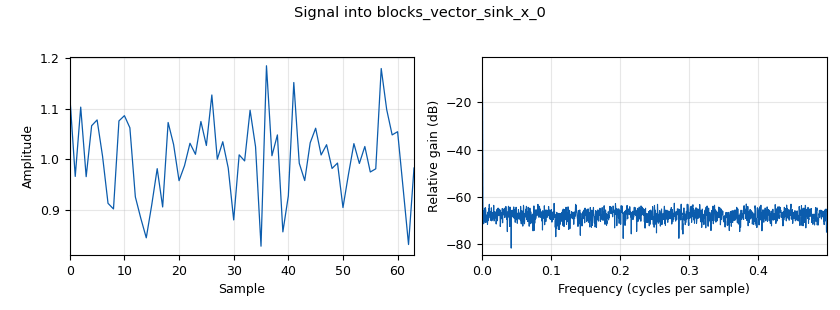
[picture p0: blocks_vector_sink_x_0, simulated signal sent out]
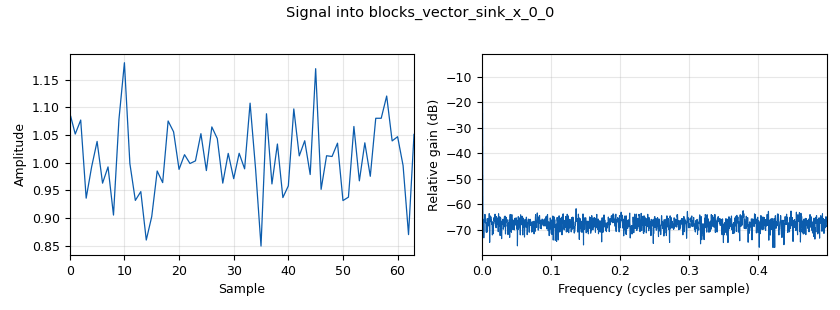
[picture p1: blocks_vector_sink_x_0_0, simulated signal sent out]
options:
  parameters:
    generate_options: qt_gui
    id: top_block
    output_language: python
  states: {}

blocks:
- name: amplitude
  id: variable_qtgui_range
  parameters:
    label: Amplitude
    min_len: '10'
    orient: Qt.Horizontal
    start: '0'
    step: '0.5'
    stop: '10'
    value: '1'
  states: {}
- name: delay
  id: variable_qtgui_entry
  parameters:
    type: int
    value: '0'
  states: {}
- name: frequency
  id: variable
  parameters:
    value: '100'
  states: {state: disabled}
- name: frequency
  id: variable_qtgui_entry
  parameters:
    type: real
    value: '100'
  states: {}
- name: samp_rate
  id: variable
  parameters:
    value: '32000'
  states: {}
- name: analog_noise_source_x_0
  id: analog_noise_source_x
  parameters:
    amp: '0.1'
    noise_type: analog.GR_GAUSSIAN
    seed: '0'
    type: complex
  states: {}
- name: analog_sig_source_x_0
  id: analog_sig_source_x
  parameters:
    amp: amplitude
    freq: frequency
    offset: '0'
    phase: '0'
    samp_rate: samp_rate
    type: complex
    waveform: analog.GR_COS_WAVE
  states: {}
- name: analog_sig_source_x_0_0
  id: analog_sig_source_x
  parameters:
    amp: amplitude
    freq: frequency
    offset: '0'
    phase: 3.1415/4
    samp_rate: samp_rate
    type: complex
    waveform: analog.GR_COS_WAVE
  states: {}
- name: blocks_add_xx_0
  id: blocks_add_xx
  parameters:
    type: complex
  states: {}
- name: blocks_add_xx_0_0
  id: blocks_add_xx
  parameters:
    type: complex
  states: {}
- name: blocks_complex_to_magphase_0_0
  id: blocks_complex_to_magphase
  parameters: {}
  states: {}
- name: blocks_complex_to_magphase_0_0_0
  id: blocks_complex_to_magphase
  parameters: {}
  states: {}
- name: blocks_complex_to_magphase_0_0_1
  id: blocks_complex_to_magphase
  parameters: {}
  states: {}
- name: blocks_complex_to_real_0
  id: blocks_complex_to_real
  parameters: {}
  states: {}
- name: blocks_complex_to_real_0_0
  id: blocks_complex_to_real
  parameters: {}
  states: {}
- name: blocks_complex_to_real_0_1
  id: blocks_complex_to_real
  parameters: {}
  states: {}
- name: blocks_delay_0
  id: blocks_delay
  parameters:
    delay: delay
    type: complex
  states: {}
- name: blocks_throttle_0_0
  id: blocks_throttle
  parameters:
    samples_per_second: samp_rate
    type: complex
  states: {}
- name: blocks_throttle_0_0_0
  id: blocks_throttle
  parameters:
    samples_per_second: samp_rate
    type: complex
  states: {}
- name: blocks_vector_sink_x_0
  id: blocks_vector_sink_x
  parameters:
    type: float
  states: {}
- name: blocks_vector_sink_x_0_0
  id: blocks_vector_sink_x
  parameters:
    type: float
  states: {}
- name: blocks_vector_sink_x_0_1
  id: blocks_vector_sink_x
  parameters:
    type: float
  states: {}
- name: phase_sync_0
  id: phase_sync
  parameters: {}
  states: {}
- name: qtgui_time_sink_x_0
  id: qtgui_time_sink_x
  parameters:
    autoscale: 'True'
    ctrlpanel: 'True'
    entags: 'False'
    grid: 'True'
    label1: Original Signal
    label2: Delayed Signal
    label3: Corrected Signal
    nconnections: '3'
    size: '512'
    srate: samp_rate
    tr_mode: qtgui.TRIG_MODE_AUTO
    type: float
    ymax: '1.5'
    ymin: '-1.5'
  states: {}
- name: qtgui_time_sink_x_0_0
  id: qtgui_time_sink_x
  parameters:
    ctrlpanel: 'True'
    entags: 'False'
    grid: 'True'
    label1: Original Signal
    label2: Delayed Signal
    label3: Corrected Signal
    nconnections: '3'
    size: '512'
    srate: samp_rate
    tr_mode: qtgui.TRIG_MODE_AUTO
    type: float
    ymax: '4'
    ymin: '-4'
  states: {}

connections:
- [analog_noise_source_x_0, '0', blocks_add_xx_0, '1']
- [analog_noise_source_x_0, '0', blocks_add_xx_0_0, '0']
- [analog_sig_source_x_0, '0', blocks_throttle_0_0, '0']
- [analog_sig_source_x_0_0, '0', blocks_delay_0, '0']
- [blocks_add_xx_0, '0', blocks_complex_to_magphase_0_0, '0']
- [blocks_add_xx_0, '0', blocks_complex_to_real_0, '0']
- [blocks_add_xx_0, '0', phase_sync_0, '0']
- [blocks_add_xx_0_0, '0', blocks_complex_to_magphase_0_0_0, '0']
- [blocks_add_xx_0_0, '0', blocks_complex_to_real_0_0, '0']
- [blocks_add_xx_0_0, '0', phase_sync_0, '1']
- [blocks_complex_to_magphase_0_0, '0', blocks_vector_sink_x_0, '0']
- [blocks_complex_to_magphase_0_0, '1', qtgui_time_sink_x_0_0, '0']
- [blocks_complex_to_magphase_0_0_0, '0', blocks_vector_sink_x_0_0, '0']
- [blocks_complex_to_magphase_0_0_0, '1', qtgui_time_sink_x_0_0, '1']
- [blocks_complex_to_magphase_0_0_1, '0', blocks_vector_sink_x_0_1, '0']
- [blocks_complex_to_magphase_0_0_1, '1', qtgui_time_sink_x_0_0, '2']
- [blocks_complex_to_real_0, '0', qtgui_time_sink_x_0, '0']
- [blocks_complex_to_real_0_0, '0', qtgui_time_sink_x_0, '1']
- [blocks_complex_to_real_0_1, '0', qtgui_time_sink_x_0, '2']
- [blocks_delay_0, '0', blocks_throttle_0_0_0, '0']
- [blocks_throttle_0_0, '0', blocks_add_xx_0, '0']
- [blocks_throttle_0_0_0, '0', blocks_add_xx_0_0, '1']
- [phase_sync_0, '0', blocks_complex_to_magphase_0_0_1, '0']
- [phase_sync_0, '0', blocks_complex_to_real_0_1, '0']

metadata:
  file_format: 1
